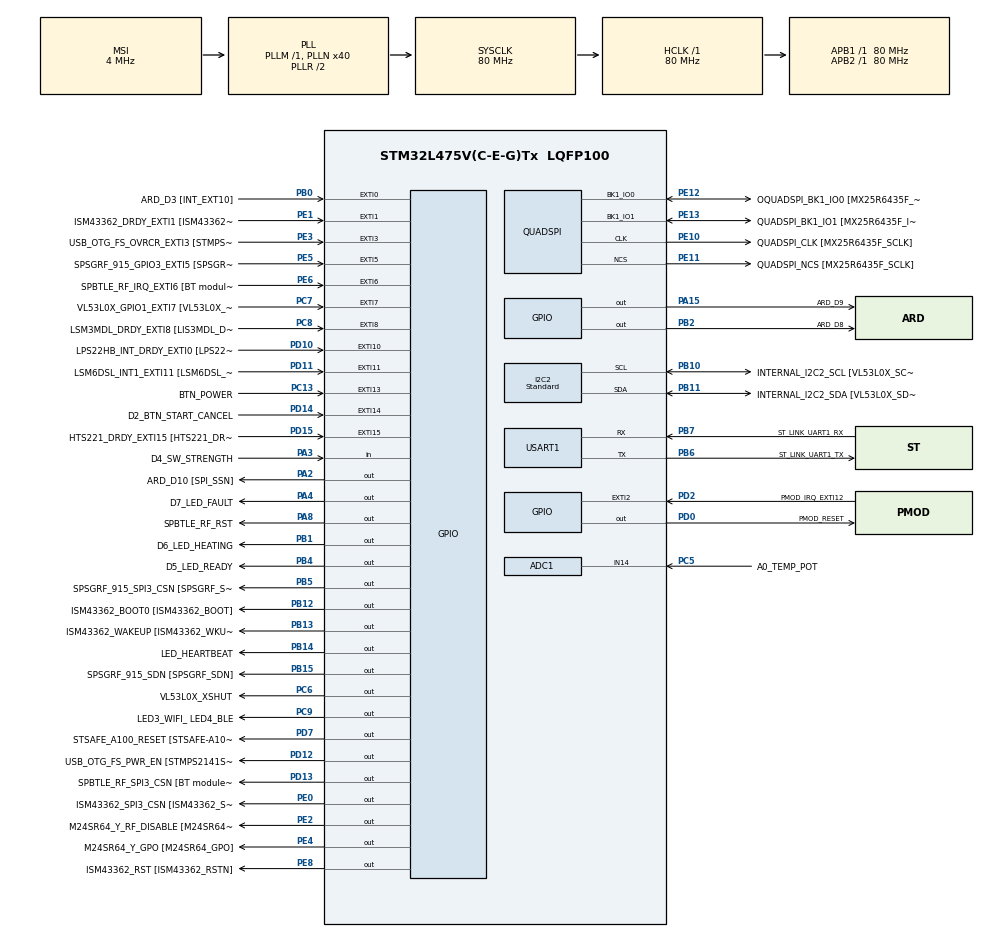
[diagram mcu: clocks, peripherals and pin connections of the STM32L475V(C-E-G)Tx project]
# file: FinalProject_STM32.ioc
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ADC1.Channel-1\#ChannelRegularConversion=ADC_CHANNEL_14
ADC1.NbrOfConversionFlag=1
ADC1.OffsetNumber-1\#ChannelRegularConversion=ADC_OFFSET_NONE
ADC1.Rank-1\#ChannelRegularConversion=1
ADC1.SamplingTime-1\#ChannelRegularConversion=ADC_SAMPLETIME_92CYCLES_5
ADC1.master=1
I2C2.I2C_Speed_Mode=I2C_Standard
I2C2.Timing=0x10D19CE4
IWDG.Prescaler=IWDG_PRESCALER_32
IWDG.Reload=1000
Mcu.Family=STM32L4
Mcu.Name=STM32L475V(C-E-G)Tx
Mcu.Package=LQFP100
NVIC.EXTI15_10_IRQn=true\:0\:0\:false\:false\:true\:true\:true\:true
NVIC.EXTI9_5_IRQn=true\:0\:0\:false\:false\:true\:true\:true\:true
NVIC.I2C2_EV_IRQn=true\:0\:0\:false\:false\:true\:true\:true\:true
NVIC.PriorityGroup=NVIC_PRIORITYGROUP_4
NVIC.USART1_IRQn=true\:0\:0\:false\:false\:true\:true\:true\:true
PA0.GPIO_Label=ARD_D1 [UART4_TX]
PA0.Signal=UART4_TX
PA1.GPIO_Label=ARD_D0 [UART4_RX]
PA1.Signal=UART4_RX
PA10.GPIO_Label=USB_OTG_FS_ID
PA10.Signal=USB_OTG_FS_ID
PA11.GPIO_Label=USB_OTG_FS_DM
PA11.Signal=USB_OTG_FS_DM
PA12.GPIO_Label=USB_OTG_FS_DP
PA12.Signal=USB_OTG_FS_DP
PA13\ (JTMS-SWDIO).GPIO_Label=SYS_JTMS_SWDIO
PA13\ (JTMS-SWDIO).Mode=Serial_Wire
PA13\ (JTMS-SWDIO).Signal=SYS_JTMS-SWDIO
PA14\ (JTCK-SWCLK).GPIO_Label=SYS_JTCK_SWCLK
PA14\ (JTCK-SWCLK).Mode=Serial_Wire
PA14\ (JTCK-SWCLK).Signal=SYS_JTCK-SWCLK
PA15\ (JTDI).GPIO_Label=ARD_D9
PA15\ (JTDI).Signal=GPIO_Output
PA2.GPIO_Label=ARD_D10 [SPI_SSN]
PA2.Signal=GPIO_Output
PA3.GPIO_Label=D4_SW_STRENGTH
PA3.GPIO_PuPd=GPIO_PULLUP
PA3.Signal=GPIO_Input
PA4.GPIO_Label=D7_LED_FAULT
PA4.Signal=GPIO_Output
PA5.GPIO_Label=ARD_D13 [SPI1_SCK]
PA5.Signal=SPI1_SCK
PA6.GPIO_Label=ARD_D12 [SPI1_MISO]
PA6.Signal=SPI1_MISO
PA7.GPIO_Label=ARD_D11 [SPI1_MOSI]
PA7.Signal=SPI1_MOSI
PA8.GPIO_Label=SPBTLE_RF_RST
PA8.Signal=GPIO_Output
PA9.GPIO_Label=USB_OTG_FS_VBUS [STMPS2141STR_OUT]
PA9.Signal=USB_OTG_FS_VBUS
PB0.GPIO_Label=ARD_D3 [INT_EXT10]
PB0.Signal=GPXTI0
PB1.GPIO_Label=D6_LED_HEATING
PB1.Signal=GPIO_Output
PB10.GPIO_Label=INTERNAL_I2C2_SCL [VL53L0X_SCL]
PB10.Mode=I2C
PB10.Signal=I2C2_SCL
PB11.GPIO_Label=INTERNAL_I2C2_SDA [VL53L0X_SDA]
PB11.Mode=I2C
PB11.Signal=I2C2_SDA
PB12.GPIO_Label=ISM43362_BOOT0 [ISM43362_BOOT]
PB12.Signal=GPIO_Output
PB13.GPIO_Label=ISM43362_WAKEUP [ISM43362_WKUP]
PB13.Signal=GPIO_Output
PB14.GPIO_Label=LED_HEARTBEAT
PB14.Signal=GPIO_Output
PB15.GPIO_Label=SPSGRF_915_SDN [SPSGRF_SDN]
PB15.Signal=GPIO_Output
PB2.GPIO_Label=ARD_D8
PB2.Signal=GPIO_Output
PB3\ (JTDO-TRACESWO).GPIO_Label=SYS_JTD0_SWO
PB3\ (JTDO-TRACESWO).Signal=SYS_JTDO-SWO
PB4\ (NJTRST).GPIO_Label=D5_LED_READY
PB4\ (NJTRST).Signal=GPIO_Output
PB5.GPIO_Label=SPSGRF_915_SPI3_CSN [SPSGRF_SPI_CS]
PB5.PinState=GPIO_PIN_SET
PB5.Signal=GPIO_Output
PB6.GPIO_Label=ST_LINK_UART1_TX
PB6.Mode=Asynchronous
PB6.Signal=USART1_TX
PB7.GPIO_Label=ST_LINK_UART1_RX
PB7.Mode=Asynchronous
PB7.Signal=USART1_RX
PB8.GPIO_Label=ARD_D15 [I2C1_SCL]
PB8.Signal=I2C1_SCL
PB9.GPIO_Label=ARD_D14 [I2C1_SDA]
PB9.Signal=I2C1_SDA
PC0.GPIO_Label=ARD_A5 [ADC]
PC0.Signal=ADCx_IN1
PC1.GPIO_Label=ARD_A4 [ADC]
PC1.Signal=ADCx_IN2
PC10.GPIO_Label=INTERNAL_SPI3_SCK [BT module_SPI_SCLK] [ISM43362_SCK]
PC10.Signal=SPI3_SCK
PC11.GPIO_Label=INTERNAL_SPI3_MISO [BT module_SPI_MISO] [ISM43362_MISO]
PC11.Signal=SPI3_MISO
PC12.GPIO_Label=INTERNAL_SPI3_MOSI [BT module_SPI_MOSI] [ISM43362_MOSI]
PC12.Signal=SPI3_MOSI
PC13.GPIO_Label=BTN_POWER
PC13.GPIO_ModeDefaultEXTI=GPIO_MODE_IT_FALLING
PC13.Signal=GPXTI13
PC14-OSC32_IN\ (PC14).Mode=LSE-External-Oscillator
PC14-OSC32_IN\ (PC14).Signal=RCC_OSC32_IN
PC15-OSC32_OUT\ (PC15).Mode=LSE-External-Oscillator
PC15-OSC32_OUT\ (PC15).Signal=RCC_OSC32_OUT
PC2.GPIO_Label=ARD_A3 [ADC]
PC2.Signal=ADCx_IN3
PC3.GPIO_Label=ARD_A2 [ADC]
PC3.Signal=ADCx_IN4
PC4.GPIO_Label=ARD_A1 [ADC]
PC4.Signal=ADCx_IN13
PC5.GPIO_Label=A0_TEMP_POT
PC5.Signal=ADCx_IN14
PC6.GPIO_Label=VL53L0X_XSHUT
PC6.PinState=GPIO_PIN_SET
PC6.Signal=GPIO_Output
PC7.GPIO_Label=VL53L0X_GPIO1_EXTI7 [VL53L0X_GPIO1]
PC7.Signal=GPXTI7
PC8.GPIO_Label=LSM3MDL_DRDY_EXTI8 [LIS3MDL_DRDY]
PC8.Signal=GPXTI8
PC9.GPIO_Label=LED3_WIFI_ LED4_BLE
PC9.Signal=GPIO_Output
PD0.GPIO_Label=PMOD_RESET
PD0.Signal=GPIO_Output
PD1.GPIO_Label=PMOD_SPI2_SCK
PD1.Signal=SPI2_SCK
PD10.GPIO_Label=LPS22HB_INT_DRDY_EXTI0 [LPS22HB_INT_DRDY] 
PD10.Signal=GPXTI10
PD11.GPIO_Label=LSM6DSL_INT1_EXTI11 [LSM6DSL_INT1]
PD11.Signal=GPXTI11
PD12.GPIO_Label=USB_OTG_FS_PWR_EN [STMPS2141STR_EN]
PD12.Signal=GPIO_Output
PD13.GPIO_Label=SPBTLE_RF_SPI3_CSN [BT module_SPI_CS]
PD13.PinState=GPIO_PIN_SET
PD13.Signal=GPIO_Output
PD14.GPIO_Label=D2_BTN_START_CANCEL
PD14.GPIO_ModeDefaultEXTI=GPIO_MODE_IT_FALLING
PD14.GPIO_PuPd=GPIO_PULLUP
PD14.Signal=GPXTI14
PD15.GPIO_Label=HTS221_DRDY_EXTI15 [HTS221_DRDY]
PD15.Signal=GPXTI15
PD2.GPIO_Label=PMOD_IRQ_EXTI12
PD2.Signal=GPXTI2
PD3.GPIO_Label=PMOD_UART2_CTS
PD3.Signal=USART2_CTS
PD4.GPIO_Label=PMOD_UART2_RTS
PD4.Signal=USART2_RTS
PD5.GPIO_Label=PMOD_UART2_TX
PD5.Signal=USART2_TX
PD6.GPIO_Label=PMOD_UART2_RX
PD6.Signal=USART2_RX
PD7.GPIO_Label=STSAFE_A100_RESET [STSAFE-A100_RESET]
PD7.Signal=GPIO_Output
PD8.GPIO_Label=INTERNAL_UART3_TX [ISM43362_RX]
PD8.Signal=USART3_TX
PD9.GPIO_Label=INTERNAL_UART3_RX [ISM43362_TX]
PD9.Signal=USART3_RX
PE0.GPIO_Label=ISM43362_SPI3_CSN [ISM43362_SSN]
PE0.PinState=GPIO_PIN_SET
PE0.Signal=GPIO_Output
PE1.GPIO_Label=ISM43362_DRDY_EXTI1 [ISM43362_DATARDY]
PE1.Signal=GPXTI1
PE10.GPIO_Label=QUADSPI_CLK [MX25R6435F_SCLK]
PE10.Mode=Single Bank 2IOs
PE10.Signal=QUADSPI_CLK
PE11.GPIO_Label=QUADSPI_NCS [MX25R6435F_SCLK]
PE11.Mode=Single Bank 2IOs
PE11.Signal=QUADSPI_NCS
PE12.GPIO_Label=OQUADSPI_BK1_IO0 [MX25R6435F_IO0]
PE12.Mode=Single Bank 2IOs
PE12.Signal=QUADSPI_BK1_IO0
PE13.GPIO_Label=QUADSPI_BK1_IO1 [MX25R6435F_IO1]
PE13.Mode=Single Bank 2IOs
PE13.Signal=QUADSPI_BK1_IO1
PE14.GPIO_Label=QUAD_SPI_BK1_IO2 [MX25R6435F_IO2]
PE14.Signal=QUADSPI_BK1_IO2
PE15.GPIO_Label=QUAD_SPI_BK1_IO3 [MX25R6435F_IO3]
PE15.Signal=QUADSPI_BK1_IO3
PE2.GPIO_Label=M24SR64_Y_RF_DISABLE [M24SR64_RFDIS]
PE2.Signal=GPIO_Output
PE3.GPIO_Label=USB_OTG_FS_OVRCR_EXTI3 [STMPS2141STR_FAULT]
PE3.Signal=GPXTI3
PE4.GPIO_Label=M24SR64_Y_GPO [M24SR64_GPO]
PE4.Signal=GPIO_Output
PE5.GPIO_Label=SPSGRF_915_GPIO3_EXTI5 [SPSGRF_GPIO_3]
PE5.Signal=GPXTI5
PE6.GPIO_Label=SPBTLE_RF_IRQ_EXTI6 [BT module_SPI_IRQ]
PE6.Signal=GPXTI6
PE7.GPIO_Label=DFSDM1_DATIN2 [MP34DT01_DOUT]
PE7.Signal=S_DATAIN2DFSDM1
PE8.GPIO_Label=ISM43362_RST [ISM43362_RSTN]
PE8.Signal=GPIO_Output
PE9.GPIO_Label=DFSDM1_CKOUT [MP34DT01_CLK]
PE9.Signal=S_CKOUTDFSDM1
PH0-OSC_IN\ (PH0).Mode=HSE-External-Oscillator
PH0-OSC_IN\ (PH0).Signal=RCC_OSC_IN
PH1-OSC_OUT\ (PH1).Mode=HSE-External-Oscillator
PH1-OSC_OUT\ (PH1).Signal=RCC_OSC_OUT
ProjectManager.HeapSize=0x200
ProjectManager.StackSize=0x400
ProjectManager.TargetToolchain=STM32CubeIDE
QUADSPI.ChipSelectHighTime-Single\ Bank\ 2IOs=QSPI_CS_HIGH_TIME_2_CYCLE
QUADSPI.ClockPrescaler-Single\ Bank\ 2IOs=3
QUADSPI.FifoThreshold-Single\ Bank\ 2IOs=4
QUADSPI.FlashSize-Single\ Bank\ 2IOs=22
RCC.ADCFreq_Value=48000000
RCC.AHBFreq_Value=80000000
RCC.APB1Freq_Value=80000000
RCC.APB1TimFreq_Value=80000000
RCC.APB2Freq_Value=80000000
RCC.APB2TimFreq_Value=80000000
RCC.CortexFreq_Value=80000000
RCC.HCLKFreq_Value=80000000
RCC.HSE_VALUE=8000000
RCC.HSI_VALUE=16000000
RCC.MSI_VALUE=4000000
RCC.PLLN=40
RCC.PLLSAI1N=24
RCC.SYSCLKFreq_VALUE=80000000
RCC.SYSCLKSource=RCC_SYSCLKSOURCE_PLLCLK
RCC.USBFreq_Value=48000000
RCC.VCOOutputFreq_Value=160000000
SH.ADCx_IN1.0=ADC1_IN1
SH.ADCx_IN13.0=ADC1_IN13
SH.ADCx_IN14.0=ADC1_IN14,IN14-Single-Ended
SH.ADCx_IN2.0=ADC1_IN2
SH.ADCx_IN3.0=ADC1_IN3
SH.ADCx_IN4.0=ADC1_IN4
SH.S_CKOUTDFSDM1.0=DFSDM1_CKOUT
SH.S_DATAIN2DFSDM1.0=DFSDM1_DATIN2
USART1.VirtualMode-Asynchronous=VM_ASYNC
VP_IWDG_VS_IWDG.Mode=IWDG_Activate
board=B-L475E-IOT01A1

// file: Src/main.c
/* USER CODE BEGIN Header */
/**
  ******************************************************************************
  * @file           : main.c
  * @brief          : Main program body
  ******************************************************************************
  * @attention
  *
  * Copyright (c) 2026 STMicroelectronics.
  * All rights reserved.
  *
  * This software is licensed under terms that can be found in the LICENSE file
  * in the root directory of this software component.
  * If no LICENSE file comes with this software, it is provided AS-IS.
  *
  ******************************************************************************
  */
/* USER CODE END Header */
#include "main.h"

/* USER CODE BEGIN Includes */
#include "app_config.h"
#include "coffee_app.h"
#include "io_diagnostics.h"
#include "tof_calibration.h"

/* USER CODE END Includes */

ADC_HandleTypeDef hadc1;

I2C_HandleTypeDef hi2c2;

IWDG_HandleTypeDef hiwdg;

QSPI_HandleTypeDef hqspi;

UART_HandleTypeDef huart1;

void SystemClock_Config(void);
static void MX_GPIO_Init(void);
static void MX_ADC1_Init(void);
static void MX_I2C2_Init(void);
static void MX_IWDG_Init(void);
static void MX_QUADSPI_Init(void);
static void MX_USART1_UART_Init(void);

int main(void)
{

  /* MCU Configuration--------------------------------------------------------*/

  /* Reset of all peripherals, Initializes the Flash interface and the Systick. */
  HAL_Init();

  /* Configure the system clock */
  SystemClock_Config();

  /* Initialize all configured peripherals */
  MX_GPIO_Init();
  MX_ADC1_Init();
  MX_I2C2_Init();
  MX_IWDG_Init();
  MX_QUADSPI_Init();
  MX_USART1_UART_Init();
  /* USER CODE BEGIN 2 */
#if IO_TOF_CALIBRATION_MODE
  TofCalibration_Init();
#elif IO_DIAGNOSTICS_MODE
  IoDiagnostics_Init();
#else
  CoffeeApp_Init();
#endif

  /* USER CODE END 2 */

  /* Infinite loop */
  while (1)
  {

    /* USER CODE BEGIN 3 */
#if IO_TOF_CALIBRATION_MODE
    TofCalibration_Task();
#elif IO_DIAGNOSTICS_MODE
    IoDiagnostics_Task();
#else
    CoffeeApp_Task();
#endif

    /* Keep IWDG active while the superloop is making progress. */
    if (HAL_IWDG_Refresh(&hiwdg) != HAL_OK)
    {
      Error_Handler();
    }
  }
  /* USER CODE END 3 */
}

void SystemClock_Config(void)
{
  RCC_OscInitTypeDef RCC_OscInitStruct = {0};
  RCC_ClkInitTypeDef RCC_ClkInitStruct = {0};

  /** Configure the main internal regulator output voltage
  */
  if (HAL_PWREx_ControlVoltageScaling(PWR_REGULATOR_VOLTAGE_SCALE1) != HAL_OK)
  {
    Error_Handler();
  }

  /** Configure LSE Drive Capability
  */
  HAL_PWR_EnableBkUpAccess();
  __HAL_RCC_LSEDRIVE_CONFIG(RCC_LSEDRIVE_LOW);

  /** Initializes the RCC Oscillators according to the specified parameters
  * in the RCC_OscInitTypeDef structure.
  */
  RCC_OscInitStruct.OscillatorType = RCC_OSCILLATORTYPE_LSI|RCC_OSCILLATORTYPE_LSE
                              |RCC_OSCILLATORTYPE_MSI;
  RCC_OscInitStruct.LSEState = RCC_LSE_ON;
  RCC_OscInitStruct.LSIState = RCC_LSI_ON;
  RCC_OscInitStruct.MSIState = RCC_MSI_ON;
  RCC_OscInitStruct.MSICalibrationValue = 0;
  RCC_OscInitStruct.MSIClockRange = RCC_MSIRANGE_6;
  RCC_OscInitStruct.PLL.PLLState = RCC_PLL_ON;
  RCC_OscInitStruct.PLL.PLLSource = RCC_PLLSOURCE_MSI;
  RCC_OscInitStruct.PLL.PLLM = 1;
  RCC_OscInitStruct.PLL.PLLN = 40;
  RCC_OscInitStruct.PLL.PLLP = RCC_PLLP_DIV7;
  RCC_OscInitStruct.PLL.PLLQ = RCC_PLLQ_DIV2;
  RCC_OscInitStruct.PLL.PLLR = RCC_PLLR_DIV2;
  if (HAL_RCC_OscConfig(&RCC_OscInitStruct) != HAL_OK)
  {
    Error_Handler();
  }

  /** Initializes the CPU, AHB and APB buses clocks
  */
  RCC_ClkInitStruct.ClockType = RCC_CLOCKTYPE_HCLK|RCC_CLOCKTYPE_SYSCLK
                              |RCC_CLOCKTYPE_PCLK1|RCC_CLOCKTYPE_PCLK2;
  RCC_ClkInitStruct.SYSCLKSource = RCC_SYSCLKSOURCE_PLLCLK;
  RCC_ClkInitStruct.AHBCLKDivider = RCC_SYSCLK_DIV1;
  RCC_ClkInitStruct.APB1CLKDivider = RCC_HCLK_DIV1;
  RCC_ClkInitStruct.APB2CLKDivider = RCC_HCLK_DIV1;

  if (HAL_RCC_ClockConfig(&RCC_ClkInitStruct, FLASH_LATENCY_4) != HAL_OK)
  {
    Error_Handler();
  }

  /** Enable MSI Auto calibration
  */
  HAL_RCCEx_EnableMSIPLLMode();
}

static void MX_ADC1_Init(void)
{

  ADC_MultiModeTypeDef multimode = {0};
  ADC_ChannelConfTypeDef sConfig = {0};

  /** Common config
  */
  hadc1.Instance = ADC1;
  hadc1.Init.ClockPrescaler = ADC_CLOCK_ASYNC_DIV1;
  hadc1.Init.Resolution = ADC_RESOLUTION_12B;
  hadc1.Init.DataAlign = ADC_DATAALIGN_RIGHT;
  hadc1.Init.ScanConvMode = ADC_SCAN_DISABLE;
  hadc1.Init.EOCSelection = ADC_EOC_SINGLE_CONV;
  hadc1.Init.LowPowerAutoWait = DISABLE;
  hadc1.Init.ContinuousConvMode = DISABLE;
  hadc1.Init.NbrOfConversion = 1;
  hadc1.Init.DiscontinuousConvMode = DISABLE;
  hadc1.Init.ExternalTrigConv = ADC_SOFTWARE_START;
  hadc1.Init.ExternalTrigConvEdge = ADC_EXTERNALTRIGCONVEDGE_NONE;
  hadc1.Init.DMAContinuousRequests = DISABLE;
  hadc1.Init.Overrun = ADC_OVR_DATA_PRESERVED;
  hadc1.Init.OversamplingMode = DISABLE;
  if (HAL_ADC_Init(&hadc1) != HAL_OK)
  {
    Error_Handler();
  }

  /** Configure the ADC multi-mode
  */
  multimode.Mode = ADC_MODE_INDEPENDENT;
  if (HAL_ADCEx_MultiModeConfigChannel(&hadc1, &multimode) != HAL_OK)
  {
    Error_Handler();
  }

  /** Configure Regular Channel
  */
  sConfig.Channel = ADC_CHANNEL_14;
  sConfig.Rank = ADC_REGULAR_RANK_1;
  sConfig.SamplingTime = ADC_SAMPLETIME_92CYCLES_5;
  sConfig.SingleDiff = ADC_SINGLE_ENDED;
  sConfig.OffsetNumber = ADC_OFFSET_NONE;
  sConfig.Offset = 0;
  if (HAL_ADC_ConfigChannel(&hadc1, &sConfig) != HAL_OK)
  {
    Error_Handler();
  }

}

static void MX_I2C2_Init(void)
{

  hi2c2.Instance = I2C2;
  hi2c2.Init.Timing = 0x10D19CE4;
  hi2c2.Init.OwnAddress1 = 0;
  hi2c2.Init.AddressingMode = I2C_ADDRESSINGMODE_7BIT;
  hi2c2.Init.DualAddressMode = I2C_DUALADDRESS_DISABLE;
  hi2c2.Init.OwnAddress2 = 0;
  hi2c2.Init.OwnAddress2Masks = I2C_OA2_NOMASK;
  hi2c2.Init.GeneralCallMode = I2C_GENERALCALL_DISABLE;
  hi2c2.Init.NoStretchMode = I2C_NOSTRETCH_DISABLE;
  if (HAL_I2C_Init(&hi2c2) != HAL_OK)
  {
    Error_Handler();
  }

  /** Configure Analogue filter
  */
  if (HAL_I2CEx_ConfigAnalogFilter(&hi2c2, I2C_ANALOGFILTER_ENABLE) != HAL_OK)
  {
    Error_Handler();
  }

  /** Configure Digital filter
  */
  if (HAL_I2CEx_ConfigDigitalFilter(&hi2c2, 0) != HAL_OK)
  {
    Error_Handler();
  }

}

static void MX_IWDG_Init(void)
{

  hiwdg.Instance = IWDG;
  hiwdg.Init.Prescaler = IWDG_PRESCALER_32;
  hiwdg.Init.Window = 4095;
  hiwdg.Init.Reload = 1000;
  if (HAL_IWDG_Init(&hiwdg) != HAL_OK)
  {
    Error_Handler();
  }

}

static void MX_QUADSPI_Init(void)
{

  /* QUADSPI parameter configuration*/
  hqspi.Instance = QUADSPI;
  hqspi.Init.ClockPrescaler = 3;
  hqspi.Init.FifoThreshold = 4;
  hqspi.Init.SampleShifting = QSPI_SAMPLE_SHIFTING_NONE;
  hqspi.Init.FlashSize = 22;
  hqspi.Init.ChipSelectHighTime = QSPI_CS_HIGH_TIME_2_CYCLE;
  hqspi.Init.ClockMode = QSPI_CLOCK_MODE_0;
  if (HAL_QSPI_Init(&hqspi) != HAL_OK)
  {
    Error_Handler();
  }

}

static void MX_USART1_UART_Init(void)
{

  huart1.Instance = USART1;
  huart1.Init.BaudRate = 115200;
  huart1.Init.WordLength = UART_WORDLENGTH_8B;
  huart1.Init.StopBits = UART_STOPBITS_1;
  huart1.Init.Parity = UART_PARITY_NONE;
  huart1.Init.Mode = UART_MODE_TX_RX;
  huart1.Init.HwFlowCtl = UART_HWCONTROL_NONE;
  huart1.Init.OverSampling = UART_OVERSAMPLING_16;
  huart1.Init.OneBitSampling = UART_ONE_BIT_SAMPLE_DISABLE;
  huart1.AdvancedInit.AdvFeatureInit = UART_ADVFEATURE_NO_INIT;
  if (HAL_UART_Init(&huart1) != HAL_OK)
  {
    Error_Handler();
  }

}

static void MX_GPIO_Init(void)
{
  GPIO_InitTypeDef GPIO_InitStruct = {0};

  /* GPIO Ports Clock Enable */
  __HAL_RCC_GPIOE_CLK_ENABLE();
  __HAL_RCC_GPIOC_CLK_ENABLE();
  __HAL_RCC_GPIOH_CLK_ENABLE();
  __HAL_RCC_GPIOA_CLK_ENABLE();
  __HAL_RCC_GPIOB_CLK_ENABLE();
  __HAL_RCC_GPIOD_CLK_ENABLE();

  /*Configure GPIO pin Output Level */
  HAL_GPIO_WritePin(GPIOE, M24SR64_Y_RF_DISABLE_Pin|M24SR64_Y_GPO_Pin|ISM43362_RST_Pin, GPIO_PIN_RESET);

  /*Configure GPIO pin Output Level */
  HAL_GPIO_WritePin(GPIOA, ARD_D10_Pin|D7_LED_FAULT_Pin|SPBTLE_RF_RST_Pin|ARD_D9_Pin, GPIO_PIN_RESET);

  /*Configure GPIO pin Output Level */
  HAL_GPIO_WritePin(GPIOB, D6_LED_HEATING_Pin|ARD_D8_Pin|ISM43362_BOOT0_Pin|ISM43362_WAKEUP_Pin
                          |LED_HEARTBEAT_Pin|SPSGRF_915_SDN_Pin|D5_LED_READY_Pin, GPIO_PIN_RESET);

  /*Configure GPIO pin Output Level */
  HAL_GPIO_WritePin(GPIOD, USB_OTG_FS_PWR_EN_Pin|PMOD_RESET_Pin|STSAFE_A100_RESET_Pin, GPIO_PIN_RESET);

  /*Configure GPIO pin Output Level */
  HAL_GPIO_WritePin(SPBTLE_RF_SPI3_CSN_GPIO_Port, SPBTLE_RF_SPI3_CSN_Pin, GPIO_PIN_SET);

  /*Configure GPIO pin Output Level */
  HAL_GPIO_WritePin(VL53L0X_XSHUT_GPIO_Port, VL53L0X_XSHUT_Pin, GPIO_PIN_SET);

  /*Configure GPIO pin Output Level */
  HAL_GPIO_WritePin(LED3_WIFI__LED4_BLE_GPIO_Port, LED3_WIFI__LED4_BLE_Pin, GPIO_PIN_RESET);

  /*Configure GPIO pin Output Level */
  HAL_GPIO_WritePin(SPSGRF_915_SPI3_CSN_GPIO_Port, SPSGRF_915_SPI3_CSN_Pin, GPIO_PIN_SET);

  /*Configure GPIO pin Output Level */
  HAL_GPIO_WritePin(ISM43362_SPI3_CSN_GPIO_Port, ISM43362_SPI3_CSN_Pin, GPIO_PIN_SET);

  /*Configure GPIO pins : M24SR64_Y_RF_DISABLE_Pin M24SR64_Y_GPO_Pin ISM43362_RST_Pin ISM43362_SPI3_CSN_Pin */
  GPIO_InitStruct.Pin = M24SR64_Y_RF_DISABLE_Pin|M24SR64_Y_GPO_Pin|ISM43362_RST_Pin|ISM43362_SPI3_CSN_Pin;
  GPIO_InitStruct.Mode = GPIO_MODE_OUTPUT_PP;
  GPIO_InitStruct.Pull = GPIO_NOPULL;
  GPIO_InitStruct.Speed = GPIO_SPEED_FREQ_LOW;
  HAL_GPIO_Init(GPIOE, &GPIO_InitStruct);

  /*Configure GPIO pins : USB_OTG_FS_OVRCR_EXTI3_Pin SPSGRF_915_GPIO3_EXTI5_Pin SPBTLE_RF_IRQ_EXTI6_Pin ISM43362_DRDY_EXTI1_Pin */
  GPIO_InitStruct.Pin = USB_OTG_FS_OVRCR_EXTI3_Pin|SPSGRF_915_GPIO3_EXTI5_Pin|SPBTLE_RF_IRQ_EXTI6_Pin|ISM43362_DRDY_EXTI1_Pin;
  GPIO_InitStruct.Mode = GPIO_MODE_IT_RISING;
  GPIO_InitStruct.Pull = GPIO_NOPULL;
  HAL_GPIO_Init(GPIOE, &GPIO_InitStruct);

  /*Configure GPIO pin : BTN_POWER_Pin */
  GPIO_InitStruct.Pin = BTN_POWER_Pin;
  GPIO_InitStruct.Mode = GPIO_MODE_IT_FALLING;
  GPIO_InitStruct.Pull = GPIO_NOPULL;
  HAL_GPIO_Init(BTN_POWER_GPIO_Port, &GPIO_InitStruct);

  /*Configure GPIO pins : ARD_D1_Pin ARD_D0_Pin */
  GPIO_InitStruct.Pin = ARD_D1_Pin|ARD_D0_Pin;
  GPIO_InitStruct.Mode = GPIO_MODE_AF_PP;
  GPIO_InitStruct.Pull = GPIO_NOPULL;
  GPIO_InitStruct.Speed = GPIO_SPEED_FREQ_VERY_HIGH;
  GPIO_InitStruct.Alternate = GPIO_AF8_UART4;
  HAL_GPIO_Init(GPIOA, &GPIO_InitStruct);

  /*Configure GPIO pins : ARD_D10_Pin D7_LED_FAULT_Pin SPBTLE_RF_RST_Pin ARD_D9_Pin */
  GPIO_InitStruct.Pin = ARD_D10_Pin|D7_LED_FAULT_Pin|SPBTLE_RF_RST_Pin|ARD_D9_Pin;
  GPIO_InitStruct.Mode = GPIO_MODE_OUTPUT_PP;
  GPIO_InitStruct.Pull = GPIO_NOPULL;
  GPIO_InitStruct.Speed = GPIO_SPEED_FREQ_LOW;
  HAL_GPIO_Init(GPIOA, &GPIO_InitStruct);

  /*Configure GPIO pin : D4_SW_STRENGTH_Pin */
  GPIO_InitStruct.Pin = D4_SW_STRENGTH_Pin;
  GPIO_InitStruct.Mode = GPIO_MODE_INPUT;
  GPIO_InitStruct.Pull = GPIO_PULLUP;
  HAL_GPIO_Init(D4_SW_STRENGTH_GPIO_Port, &GPIO_InitStruct);

  /*Configure GPIO pins : ARD_D13_Pin ARD_D12_Pin ARD_D11_Pin */
  GPIO_InitStruct.Pin = ARD_D13_Pin|ARD_D12_Pin|ARD_D11_Pin;
  GPIO_InitStruct.Mode = GPIO_MODE_AF_PP;
  GPIO_InitStruct.Pull = GPIO_NOPULL;
  GPIO_InitStruct.Speed = GPIO_SPEED_FREQ_VERY_HIGH;
  GPIO_InitStruct.Alternate = GPIO_AF5_SPI1;
  HAL_GPIO_Init(GPIOA, &GPIO_InitStruct);

  /*Configure GPIO pin : ARD_D3_Pin */
  GPIO_InitStruct.Pin = ARD_D3_Pin;
  GPIO_InitStruct.Mode = GPIO_MODE_IT_RISING;
  GPIO_InitStruct.Pull = GPIO_NOPULL;
  HAL_GPIO_Init(ARD_D3_GPIO_Port, &GPIO_InitStruct);

  /*Configure GPIO pins : D6_LED_HEATING_Pin ARD_D8_Pin ISM43362_BOOT0_Pin ISM43362_WAKEUP_Pin
                           LED_HEARTBEAT_Pin SPSGRF_915_SDN_Pin D5_LED_READY_Pin SPSGRF_915_SPI3_CSN_Pin */
  GPIO_InitStruct.Pin = D6_LED_HEATING_Pin|ARD_D8_Pin|ISM43362_BOOT0_Pin|ISM43362_WAKEUP_Pin
                          |LED_HEARTBEAT_Pin|SPSGRF_915_SDN_Pin|D5_LED_READY_Pin|SPSGRF_915_SPI3_CSN_Pin;
  GPIO_InitStruct.Mode = GPIO_MODE_OUTPUT_PP;
  GPIO_InitStruct.Pull = GPIO_NOPULL;
  GPIO_InitStruct.Speed = GPIO_SPEED_FREQ_LOW;
  HAL_GPIO_Init(GPIOB, &GPIO_InitStruct);

  /*Configure GPIO pins : DFSDM1_DATIN2_Pin DFSDM1_CKOUT_Pin */
  GPIO_InitStruct.Pin = DFSDM1_DATIN2_Pin|DFSDM1_CKOUT_Pin;
  GPIO_InitStruct.Mode = GPIO_MODE_AF_PP;
  GPIO_InitStruct.Pull = GPIO_NOPULL;
  GPIO_InitStruct.Speed = GPIO_SPEED_FREQ_LOW;
  GPIO_InitStruct.Alternate = GPIO_AF6_DFSDM1;
  HAL_GPIO_Init(GPIOE, &GPIO_InitStruct);

  /*Configure GPIO pins : INTERNAL_UART3_TX_Pin INTERNAL_UART3_RX_Pin */
  GPIO_InitStruct.Pin = INTERNAL_UART3_TX_Pin|INTERNAL_UART3_RX_Pin;
  GPIO_InitStruct.Mode = GPIO_MODE_AF_PP;
  GPIO_InitStruct.Pull = GPIO_NOPULL;
  GPIO_InitStruct.Speed = GPIO_SPEED_FREQ_VERY_HIGH;
  GPIO_InitStruct.Alternate = GPIO_AF7_USART3;
  HAL_GPIO_Init(GPIOD, &GPIO_InitStruct);

  /*Configure GPIO pins : LPS22HB_INT_DRDY_EXTI0_Pin LSM6DSL_INT1_EXTI11_Pin HTS221_DRDY_EXTI15_Pin PMOD_IRQ_EXTI12_Pin */
  GPIO_InitStruct.Pin = LPS22HB_INT_DRDY_EXTI0_Pin|LSM6DSL_INT1_EXTI11_Pin|HTS221_DRDY_EXTI15_Pin|PMOD_IRQ_EXTI12_Pin;
  GPIO_InitStruct.Mode = GPIO_MODE_IT_RISING;
  GPIO_InitStruct.Pull = GPIO_NOPULL;
  HAL_GPIO_Init(GPIOD, &GPIO_InitStruct);

  /*Configure GPIO pins : USB_OTG_FS_PWR_EN_Pin SPBTLE_RF_SPI3_CSN_Pin PMOD_RESET_Pin STSAFE_A100_RESET_Pin */
  GPIO_InitStruct.Pin = USB_OTG_FS_PWR_EN_Pin|SPBTLE_RF_SPI3_CSN_Pin|PMOD_RESET_Pin|STSAFE_A100_RESET_Pin;
  GPIO_InitStruct.Mode = GPIO_MODE_OUTPUT_PP;
  GPIO_InitStruct.Pull = GPIO_NOPULL;
  GPIO_InitStruct.Speed = GPIO_SPEED_FREQ_LOW;
  HAL_GPIO_Init(GPIOD, &GPIO_InitStruct);

  /*Configure GPIO pin : D2_BTN_START_CANCEL_Pin */
  GPIO_InitStruct.Pin = D2_BTN_START_CANCEL_Pin;
  GPIO_InitStruct.Mode = GPIO_MODE_IT_FALLING;
  GPIO_InitStruct.Pull = GPIO_PULLUP;
  HAL_GPIO_Init(D2_BTN_START_CANCEL_GPIO_Port, &GPIO_InitStruct);

  /*Configure GPIO pins : VL53L0X_XSHUT_Pin LED3_WIFI__LED4_BLE_Pin */
  GPIO_InitStruct.Pin = VL53L0X_XSHUT_Pin|LED3_WIFI__LED4_BLE_Pin;
  GPIO_InitStruct.Mode = GPIO_MODE_OUTPUT_PP;
  GPIO_InitStruct.Pull = GPIO_NOPULL;
  GPIO_InitStruct.Speed = GPIO_SPEED_FREQ_LOW;
  HAL_GPIO_Init(GPIOC, &GPIO_InitStruct);

  /*Configure GPIO pins : VL53L0X_GPIO1_EXTI7_Pin LSM3MDL_DRDY_EXTI8_Pin */
  GPIO_InitStruct.Pin = VL53L0X_GPIO1_EXTI7_Pin|LSM3MDL_DRDY_EXTI8_Pin;
  GPIO_InitStruct.Mode = GPIO_MODE_IT_RISING;
  GPIO_InitStruct.Pull = GPIO_NOPULL;
  HAL_GPIO_Init(GPIOC, &GPIO_InitStruct);

  /*Configure GPIO pin : USB_OTG_FS_VBUS_Pin */
  GPIO_InitStruct.Pin = USB_OTG_FS_VBUS_Pin;
  GPIO_InitStruct.Mode = GPIO_MODE_INPUT;
  GPIO_InitStruct.Pull = GPIO_NOPULL;
  HAL_GPIO_Init(USB_OTG_FS_VBUS_GPIO_Port, &GPIO_InitStruct);

  /*Configure GPIO pins : USB_OTG_FS_ID_Pin USB_OTG_FS_DM_Pin USB_OTG_FS_DP_Pin */
  GPIO_InitStruct.Pin = USB_OTG_FS_ID_Pin|USB_OTG_FS_DM_Pin|USB_OTG_FS_DP_Pin;
  GPIO_InitStruct.Mode = GPIO_MODE_AF_PP;
  GPIO_InitStruct.Pull = GPIO_NOPULL;
  GPIO_InitStruct.Speed = GPIO_SPEED_FREQ_VERY_HIGH;
  GPIO_InitStruct.Alternate = GPIO_AF10_OTG_FS;
  HAL_GPIO_Init(GPIOA, &GPIO_InitStruct);

  /*Configure GPIO pins : INTERNAL_SPI3_SCK_Pin INTERNAL_SPI3_MISO_Pin INTERNAL_SPI3_MOSI_Pin */
  GPIO_InitStruct.Pin = INTERNAL_SPI3_SCK_Pin|INTERNAL_SPI3_MISO_Pin|INTERNAL_SPI3_MOSI_Pin;
  GPIO_InitStruct.Mode = GPIO_MODE_AF_PP;
  GPIO_InitStruct.Pull = GPIO_NOPULL;
  GPIO_InitStruct.Speed = GPIO_SPEED_FREQ_VERY_HIGH;
  GPIO_InitStruct.Alternate = GPIO_AF6_SPI3;
  HAL_GPIO_Init(GPIOC, &GPIO_InitStruct);

  /*Configure GPIO pin : PMOD_SPI2_SCK_Pin */
  GPIO_InitStruct.Pin = PMOD_SPI2_SCK_Pin;
  GPIO_InitStruct.Mode = GPIO_MODE_AF_PP;
  GPIO_InitStruct.Pull = GPIO_NOPULL;
  GPIO_InitStruct.Speed = GPIO_SPEED_FREQ_VERY_HIGH;
  GPIO_InitStruct.Alternate = GPIO_AF5_SPI2;
  HAL_GPIO_Init(PMOD_SPI2_SCK_GPIO_Port, &GPIO_InitStruct);

  /*Configure GPIO pins : PMOD_UART2_CTS_Pin PMOD_UART2_RTS_Pin PMOD_UART2_TX_Pin PMOD_UART2_RX_Pin */
  GPIO_InitStruct.Pin = PMOD_UART2_CTS_Pin|PMOD_UART2_RTS_Pin|PMOD_UART2_TX_Pin|PMOD_UART2_RX_Pin;
  GPIO_InitStruct.Mode = GPIO_MODE_AF_PP;
  GPIO_InitStruct.Pull = GPIO_NOPULL;
  GPIO_InitStruct.Speed = GPIO_SPEED_FREQ_VERY_HIGH;
  GPIO_InitStruct.Alternate = GPIO_AF7_USART2;
  HAL_GPIO_Init(GPIOD, &GPIO_InitStruct);

  /*Configure GPIO pins : ARD_D15_Pin ARD_D14_Pin */
  GPIO_InitStruct.Pin = ARD_D15_Pin|ARD_D14_Pin;
  GPIO_InitStruct.Mode = GPIO_MODE_AF_OD;
  GPIO_InitStruct.Pull = GPIO_NOPULL;
  GPIO_InitStruct.Speed = GPIO_SPEED_FREQ_VERY_HIGH;
  GPIO_InitStruct.Alternate = GPIO_AF4_I2C1;
  HAL_GPIO_Init(GPIOB, &GPIO_InitStruct);

  /* EXTI interrupt init*/
  HAL_NVIC_SetPriority(EXTI9_5_IRQn, 0, 0);
  HAL_NVIC_EnableIRQ(EXTI9_5_IRQn);

  HAL_NVIC_SetPriority(EXTI15_10_IRQn, 0, 0);
  HAL_NVIC_EnableIRQ(EXTI15_10_IRQn);

}

void Error_Handler(void)
{
  __disable_irq();
  while (1)
  {
  }
}
